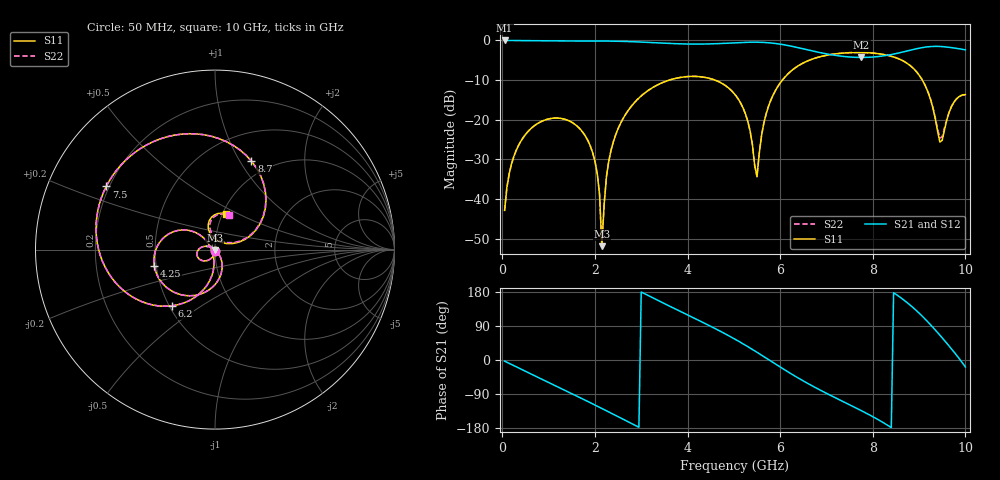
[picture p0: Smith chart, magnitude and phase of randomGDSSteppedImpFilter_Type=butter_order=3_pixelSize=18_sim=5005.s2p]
! freq	dB(S11)	phase(S11)	dB(S12)	phase(S12)
!  dB(S21)	phase(S21)	dB(S22)	phase(S22)
!S-par simulation data
#  GHz  S  DB  R 50
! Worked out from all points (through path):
!   200 points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, 50 MHz to 10 GHz, reference 50 ohm
!   highest |S21| = -0.01 dB at 50 MHz (marker M1); lowest = -4.3 dB at 7.75 GHz (marker M2)
!   group delay of S21, straight-line fit = 190 ps
!   lowest |S11| = -51.9 dB at 2.15 GHz (marker M3), VSWR 1.01, Z = 49.8 - j0.168 ohm
!   |S11| at or under -10 dB: start of sweep to 3.606 GHz; 4.592 GHz to 6.047 GHz (1.456 GHz wide, 27.4 % of centre); 9.069 GHz to end of sweep
!   |S22| runs from -51.7 to -3.0 dB; largest |S21 - S12| = 0
!   S11 on the Smith chart (normalised r, x): 50 MHz: 1.00, -0.01; 4.25 GHz: 0.49, -0.10; 6.2 GHz: 0.52, -0.38; 7.5 GHz: 0.19, +0.26; 8.7 GHz: 0.82, +1.12; 10 GHz: 1.04, +0.43
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0.05  -42.83 -90.4  -0.01 -3.0  -0.01 -3.0  -42.83 -90.4
0.25  -29.23 -104.5  -0.03 -14.9  -0.03 -14.9  -29.23 -104.5
0.6  -22.42 -126.0  -0.07 -35.6  -0.07 -35.6  -22.42 -126.0
1.75  -23.33 166.0  -0.14 -103.6  -0.14 -103.6  -23.33 166.1
2.05  -33.54 149.1  -0.15 -121.8  -0.15 -121.8  -33.54 149.4
2.15  -51.86 -138.6  -0.15 -127.9  -0.15 -127.9  -51.66 -140.7
2.25  -34.27 -46.8  -0.16 -134.1  -0.16 -134.1  -34.26 -47.2
2.45  -23.74 -57.8  -0.20 -146.4  -0.20 -146.4  -23.73 -57.9
3.4  -10.94 -115.5  -0.64 154.9  -0.64 154.9  -10.94 -115.5
4.25  -9.12 -165.3  -0.93 104.1  -0.93 104.1  -9.12 -165.3
5.05  -14.02 146.7  -0.58 53.2  -0.58 53.2  -14.02 146.6
5.5  -34.26 -140.8  -0.45 20.4  -0.45 20.4  -34.38 -140.6
5.7  -18.40 -94.9  -0.54 4.9  -0.54 4.9  -18.40 -94.8
6.2  -8.09 -127.4  -1.36 -33.6  -1.36 -33.6  -8.09 -127.3
6.7  -4.68 -161.5  -2.66 -68.8  -2.66 -68.8  -4.68 -161.5
7.5  -3.09 149.8  -4.18 -118.2  -4.18 -118.2  -3.09 149.9
7.75  -3.05 134.9  -4.29 -133.5  -4.29 -133.5  -3.05 135.0
8.35  -3.84 95.6  -3.67 -174.5  -3.67 -174.5  -3.83 95.6
8.7  -5.46 67.6  -2.78 155.5  -2.78 155.5  -5.46 67.7
9.35  -19.72 19.1  -1.49 79.3  -1.49 79.3  -19.45 21.3
9.45  -25.64 52.7  -1.52 65.4  -1.52 65.4  -24.64 53.2
10  -13.64 73.4  -2.37 -18.4  -2.37 -18.4  -13.73 68.4
